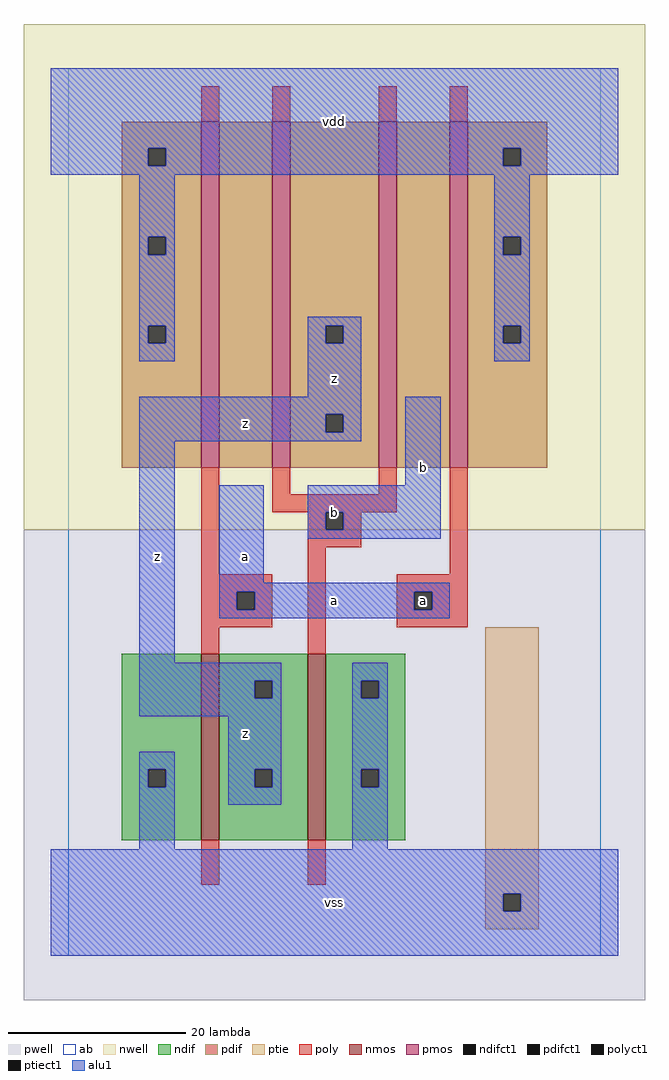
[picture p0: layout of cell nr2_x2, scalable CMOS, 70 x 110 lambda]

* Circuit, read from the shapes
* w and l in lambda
.subckt nr2_x2 a b vdd vss z
M1 z a vss vss nfet w=21 l=2
M2 vss b z vss nfet w=21 l=2
M3 n1 a vdd n2 pfet w=39 l=2
M4 z b n1 n2 pfet w=39 l=2
M5 n3 b z n2 pfet w=39 l=2
M6 vdd a n3 n2 pfet w=39 l=2
.ends

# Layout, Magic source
magic
tech scmos
<< ab >>
rect 0 0 60 100
<< nwell >>
rect -5 48 65 105
<< pwell >>
rect -5 -5 65 48
<< poly >>
rect 15 94 17 98
rect 23 94 25 98
rect 35 94 37 98
rect 43 94 45 98
rect 15 43 17 55
rect 23 52 25 55
rect 35 52 37 55
rect 23 50 37 52
rect 27 48 29 50
rect 31 48 33 50
rect 27 46 33 48
rect 15 41 23 43
rect 15 39 19 41
rect 21 39 23 41
rect 15 37 23 39
rect 15 34 17 37
rect 27 34 29 46
rect 43 43 45 55
rect 37 41 45 43
rect 37 39 39 41
rect 41 39 45 41
rect 37 37 45 39
rect 15 8 17 13
rect 27 8 29 13
<< ndif >>
rect 6 21 15 34
rect 6 19 9 21
rect 11 19 15 21
rect 6 13 15 19
rect 17 31 27 34
rect 17 29 21 31
rect 23 29 27 31
rect 17 21 27 29
rect 17 19 21 21
rect 23 19 27 21
rect 17 13 27 19
rect 29 31 38 34
rect 29 29 33 31
rect 35 29 38 31
rect 29 21 38 29
rect 29 19 33 21
rect 35 19 38 21
rect 29 13 38 19
<< pdif >>
rect 6 91 15 94
rect 6 89 9 91
rect 11 89 15 91
rect 6 81 15 89
rect 6 79 9 81
rect 11 79 15 81
rect 6 71 15 79
rect 6 69 9 71
rect 11 69 15 71
rect 6 55 15 69
rect 17 55 23 94
rect 25 71 35 94
rect 25 69 29 71
rect 31 69 35 71
rect 25 61 35 69
rect 25 59 29 61
rect 31 59 35 61
rect 25 55 35 59
rect 37 55 43 94
rect 45 91 54 94
rect 45 89 49 91
rect 51 89 54 91
rect 45 81 54 89
rect 45 79 49 81
rect 51 79 54 81
rect 45 71 54 79
rect 45 69 49 71
rect 51 69 54 71
rect 45 55 54 69
<< alu1 >>
rect -2 91 62 100
rect -2 89 9 91
rect 11 89 49 91
rect 51 89 62 91
rect -2 88 62 89
rect 8 81 12 88
rect 8 79 9 81
rect 11 79 12 81
rect 8 71 12 79
rect 48 81 52 88
rect 48 79 49 81
rect 51 79 52 81
rect 8 69 9 71
rect 11 69 12 71
rect 8 67 12 69
rect 27 71 33 72
rect 27 69 29 71
rect 31 69 33 71
rect 27 63 33 69
rect 48 71 52 79
rect 48 69 49 71
rect 51 69 52 71
rect 48 67 52 69
rect 8 61 33 63
rect 8 59 29 61
rect 31 59 33 61
rect 8 58 33 59
rect 8 33 12 58
rect 38 53 42 63
rect 17 42 22 53
rect 27 50 42 53
rect 27 48 29 50
rect 31 48 42 50
rect 27 47 42 48
rect 17 41 43 42
rect 17 39 19 41
rect 21 39 39 41
rect 41 39 43 41
rect 17 38 43 39
rect 8 31 24 33
rect 8 29 21 31
rect 23 29 24 31
rect 8 27 24 29
rect 8 21 12 23
rect 8 19 9 21
rect 11 19 12 21
rect 8 12 12 19
rect 18 21 24 27
rect 18 19 21 21
rect 23 19 24 21
rect 18 17 24 19
rect 32 31 36 33
rect 32 29 33 31
rect 35 29 36 31
rect 32 21 36 29
rect 32 19 33 21
rect 35 19 36 21
rect 32 12 36 19
rect -2 7 62 12
rect -2 5 49 7
rect 51 5 62 7
rect -2 0 62 5
<< ptie >>
rect 47 7 53 37
rect 47 5 49 7
rect 51 5 53 7
rect 47 3 53 5
<< nmos >>
rect 15 13 17 34
rect 27 13 29 34
<< pmos >>
rect 15 55 17 94
rect 23 55 25 94
rect 35 55 37 94
rect 43 55 45 94
<< polyct1 >>
rect 29 48 31 50
rect 19 39 21 41
rect 39 39 41 41
<< ndifct1 >>
rect 9 19 11 21
rect 21 29 23 31
rect 21 19 23 21
rect 33 29 35 31
rect 33 19 35 21
<< ptiect1 >>
rect 49 5 51 7
<< pdifct1 >>
rect 9 89 11 91
rect 9 79 11 81
rect 9 69 11 71
rect 29 69 31 71
rect 29 59 31 61
rect 49 89 51 91
rect 49 79 51 81
rect 49 69 51 71
<< labels >>
rlabel alu1 10 45 10 45 6 z
rlabel alu1 20 25 20 25 6 z
rlabel alu1 20 45 20 45 6 a
rlabel alu1 20 60 20 60 6 z
rlabel alu1 30 6 30 6 6 vss
rlabel alu1 30 40 30 40 6 a
rlabel polyct1 40 40 40 40 6 a
rlabel alu1 30 50 30 50 6 b
rlabel alu1 30 65 30 65 6 z
rlabel alu1 40 55 40 55 6 b
rlabel alu1 30 94 30 94 6 vdd
<< end >>
